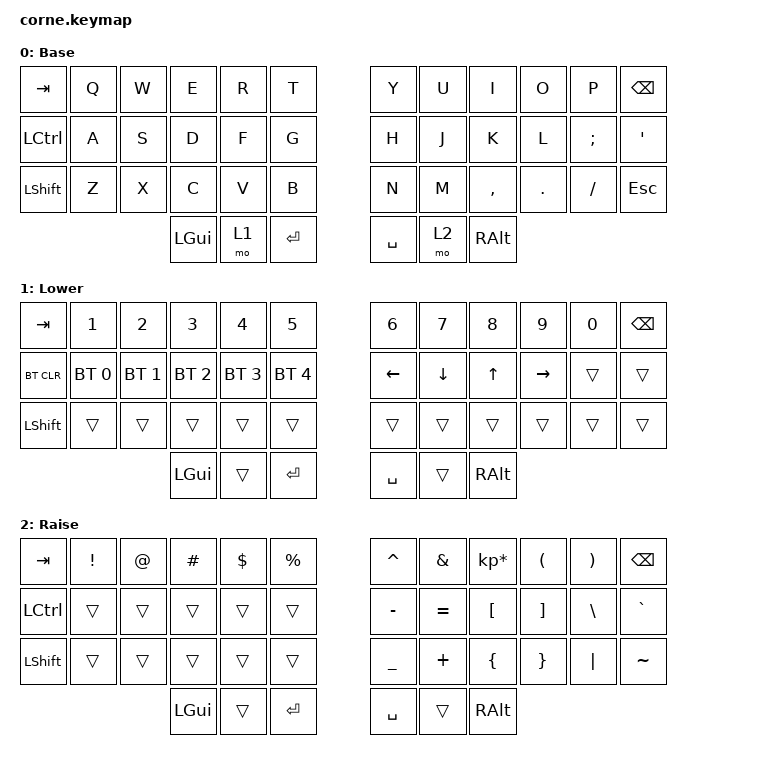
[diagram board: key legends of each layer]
/*
 * Copyright (c) 2020 The ZMK Contributors
 *
 * SPDX-License-Identifier: MIT
 */

#include <behaviors.dtsi>
#include <dt-bindings/zmk/bt.h>
#include <dt-bindings/zmk/keys.h>

/ {
    combos {
        compatible = "zmk,combos";

        OpenBracket {
            bindings = <&kp LEFT_BRACE>;
            key-positions = <9 29>;
        };

        CloseBracket {
            bindings = <&kp RIGHT_BRACE>;
            key-positions = <27 29>;
        };

        OpenParenthesis {
            bindings = <&kp LEFT_PARENTHESIS>;
            key-positions = <10 9>;
        };

        CloseParenthesis {
            bindings = <&kp RIGHT_PARENTHESIS>;
            key-positions = <27 10>;
        };
    };

    keymap {
        compatible = "zmk,keymap";

        default_layer {
            // -----------------------------------------------------------------------------------------
            // |  TAB |  Q  |  W  |  E  |  R  |  T  |   |  Y  |  U   |  I  |  O  |  P  | BKSP |
            // | CTRL |  A  |  S  |  D  |  F  |  G  |   |  H  |  J   |  K  |  L  |  ;  |  '   |
            // | SHFT |  Z  |  X  |  C  |  V  |  B  |   |  N  |  M   |  ,  |  .  |  /  | ESC  |
            //                    | GUI | LWR | ENT |   | SPACE | RSE  | ALT |

            display-name = "Base";
            bindings = <
&kp TAB    &kp Q  &kp W  &kp E     &kp R  &kp T      &kp Y      &kp U  &kp I      &kp O    &kp P     &kp BSPC
&kp LCTRL  &kp A  &kp S  &kp D     &kp F  &kp G      &kp H      &kp J  &kp K      &kp L    &kp SEMI  &kp SQT
&kp LSHFT  &kp Z  &kp X  &kp C     &kp V  &kp B      &kp N      &kp M  &kp COMMA  &kp DOT  &kp FSLH  &kp ESC
                         &kp LGUI  &mo 1  &kp RET    &kp SPACE  &mo 2  &kp RALT
            >;
        };

        lower_layer {
            // -----------------------------------------------------------------------------------------
            // |  TAB |  1  |  2  |  3  |  4  |  5  |   |  6  |  7  |  8  |  9  |  0  | BKSP |
            // | BTCLR| BT1 | BT2 | BT3 | BT4 | BT5 |   | LFT | DWN |  UP | RGT |     |      |
            // | SHFT |     |     |     |     |     |   |     |     |     |     |     |      |
            //                    | GUI |     | ENT |   | SPACE |     | ALT |

            display-name = "Lower";
            bindings = <
&kp TAB     &kp N1        &kp N2        &kp N3        &kp N4        &kp N5          &kp N6     &kp N7    &kp N8    &kp N9     &kp N0  &kp BSPC
&bt BT_CLR  &bt BT_SEL 0  &bt BT_SEL 1  &bt BT_SEL 2  &bt BT_SEL 3  &bt BT_SEL 4    &kp LEFT   &kp DOWN  &kp UP    &kp RIGHT  &trans  &trans
&kp LSHFT   &trans        &trans        &trans        &trans        &trans          &trans     &trans    &trans    &trans     &trans  &trans
                                        &kp LGUI      &trans        &kp RET         &kp SPACE  &trans    &kp RALT
            >;
        };

        raise_layer {
            // -----------------------------------------------------------------------------------------
            // |  TAB |  !  |  @  |  #  |  $  |  %  |   |  ^  |  &  |  *  |  (  |  )  | BKSP |
            // | CTRL |     |     |     |     |     |   |  -  |  =  |  [  |  ]  |  \  |  `   |
            // | SHFT |     |     |     |     |     |   |  _  |  +  |  {  |  }  | "|" |  ~   |
            //                    | GUI |     | ENT |   | SPC |     | ALT |

            display-name = "Raise";
            bindings = <
&kp TAB    &kp EXCL  &kp AT  &kp HASH  &kp DLLR  &kp PRCNT    &kp CARET  &kp AMPS   &kp KP_MULTIPLY  &kp LPAR  &kp RPAR  &kp BSPC
&kp LCTRL  &trans    &trans  &trans    &trans    &trans       &kp MINUS  &kp EQUAL  &kp LBKT         &kp RBKT  &kp BSLH  &kp GRAVE
&kp LSHFT  &trans    &trans  &trans    &trans    &trans       &kp UNDER  &kp PLUS   &kp LBRC         &kp RBRC  &kp PIPE  &kp TILDE
                             &kp LGUI  &trans    &kp RET      &kp SPACE  &trans     &kp RALT
            >;
        };

        extra_1 { status = "reserved"; };

        extra_2 { status = "reserved"; };

        extra_3 { status = "reserved"; };
    };
};
